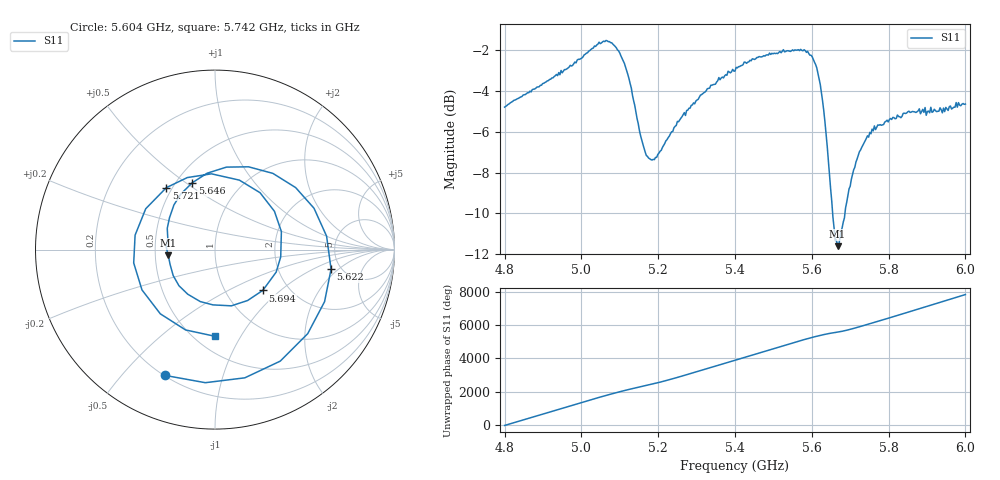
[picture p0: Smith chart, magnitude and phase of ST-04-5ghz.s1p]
! NanoVNA-App
! Date: 2026-05-22 18:50:18
! Start: 4.8GHz Stop: 6GHz Points: 401
! S-Parameter data: F S11
# Hz S RI R 50
!  Frequency  S11_Real  S11_Imag
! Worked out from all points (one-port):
!   401 points, 4.8 GHz to 6 GHz, reference 50 ohm
!   lowest |S11| = -11.6 dB at 5.667 GHz (marker M1), VSWR 1.71, Z = 29.3 - j2.06 ohm
!   |S11| at or under -10 dB: 5.654 GHz to 5.686 GHz (32.08 MHz wide, 0.566 % of centre)
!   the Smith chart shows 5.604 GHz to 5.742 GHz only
!   S11 on the Smith chart (normalised r, x): 5.604 GHz: 0.20, -0.66; 5.622 GHz: 4.17, -1.59; 5.646 GHz: 0.60, +0.53; 5.694 GHz: 1.49, -0.77; 5.721 GHz: 0.47, +0.40; 5.742 GHz: 0.62, -0.78
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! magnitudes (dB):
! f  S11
! 4.8 GHz  -4.8
! 4.95 GHz  -3.1
! 5.061 GHz  -1.6
! 5.1 GHz  -2.1
! 5.121 GHz  -3.2
! 5.157 GHz  -6.4
! 5.175 GHz  -7.3
! 5.196 GHz  -7.3
! 5.25 GHz  -5.5
! 5.334 GHz  -3.8
! 5.4 GHz  -3.0
! 5.46 GHz  -2.3
! 5.55 GHz  -2.0
! 5.583 GHz  -2.0
! 5.604 GHz  -2.4
! 5.622 GHz  -3.7
! 5.634 GHz  -5.5
! 5.646 GHz  -8.1
! 5.658 GHz  -10.7
! 5.667 GHz  -11.6
! 5.676 GHz  -10.9
! 5.694 GHz  -9.1
! 5.7 GHz  -8.7
! 5.721 GHz  -7.2
! 5.742 GHz  -6.3
! 5.769 GHz  -5.8
! 5.85 GHz  -5.0
! 6 GHz  -4.6
